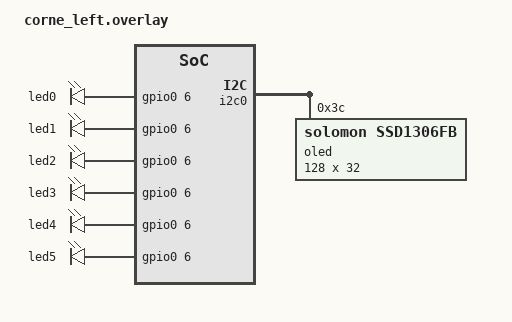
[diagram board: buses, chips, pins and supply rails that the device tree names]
/ {
    chosen {
        zmk,display = &oled;
        zmk,backlight = &backlight_leds;
        zmk,underglow = &underglow;
        zmk,studio = &studio_endpoint;
    };

    studio_endpoint: studio {
        compatible = "zmk,studio";
    };

    backlight_leds: leds {
        compatible = "gpio-leds";

        led0 { gpios = <&gpio0 6 GPIO_ACTIVE_HIGH>; };
        led1 { gpios = <&gpio0 6 GPIO_ACTIVE_HIGH>; };
        led2 { gpios = <&gpio0 6 GPIO_ACTIVE_HIGH>; };
        led3 { gpios = <&gpio0 6 GPIO_ACTIVE_HIGH>; };
        led4 { gpios = <&gpio0 6 GPIO_ACTIVE_HIGH>; };
        led5 { gpios = <&gpio0 6 GPIO_ACTIVE_HIGH>; };
    };

    underglow: underglow {
        compatible = "zmk,rgb-underglow";
        chain-length = <21>;
    };
};

&i2c0 {
    status = "okay";

    oled: ssd1306@3c {
        compatible = "solomon,ssd1306fb";
        reg = <0x3c>;
        width = <128>;
        height = <32>;
    };
};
